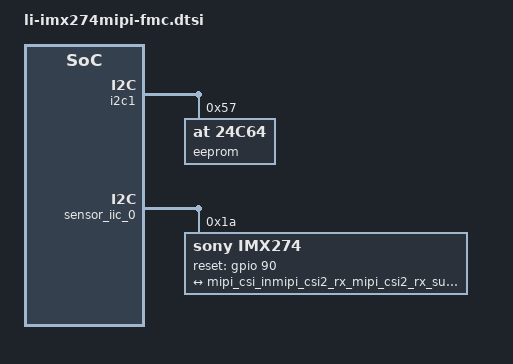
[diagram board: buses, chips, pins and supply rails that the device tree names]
&i2c1 {
	i2cswitch@75 {
		i2c@0 {
			eeprom@57 { /* HPC0_IIC */
				compatible = "at,24c64";
				reg = <0x57>;
			};
		};
	};
};

&sensor_iic_0 {
	clocks = <&vid_s_axi_clk>;
	imx274: sensor@1a{
		compatible = "sony,imx274";
		reg = <0x1a>;
		#address-cells = <1>;
		#size-cells = <0>;
		reset-gpios = <&gpio 90 0>;

		port@0 {
			reg = <0>;

			sensor_out: endpoint {
				remote-endpoint = <&mipi_csi_inmipi_csi2_rx_mipi_csi2_rx_subsystem_0>;
			};
		};
	};
};
